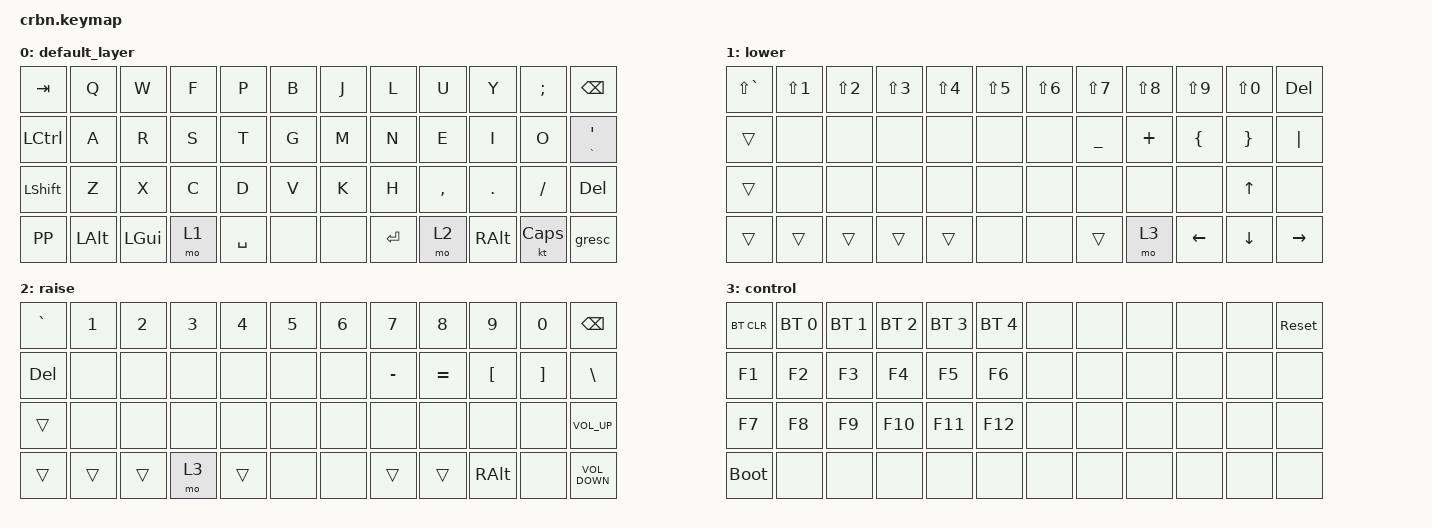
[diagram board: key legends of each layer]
/*
 * Copyright (c) 2020 The ZMK Contributors
 *
 * SPDX-License-Identifier: MIT
 */

#include <behaviors.dtsi>
#include <dt-bindings/zmk/bt.h>
#include <dt-bindings/zmk/keys.h>
#include <dt-bindings/zmk/keys.h>

/ {
    keymap {
        compatible = "zmk,keymap";

        default_layer {
            // -----------------------------------------------------------------------------------------
            // | ESC/~ |  Q   |  W   |  E   |  R   |  T   |   Y   |  U    |  I   |  O   |   P   | BSPC  |
            // | TAB   |  A   |  S   |  D   |  F   |  G   |   H   |  J    |  K   |  L   |   ;   |  '    |
            // | SHIFT |  Z   |  X   |  C   |  V   |  B   |   N   |  M    |  ,   |  .   |   /   |RET/SFT|
            // | PLAY  | LCTL | LALT | LGUI | LOWR |     SPACE    |  RAIS | LARW | UARW | DARW  |  RARW |

            bindings = <
&kp TAB           &kp Q     &kp W     &kp F  &kp P      &kp B  &kp J  &kp L      &kp U      &kp Y     &kp SEMI  &kp BSPC
&kp LEFT_CONTROL  &kp A     &kp R     &kp S  &kp T      &kp G  &kp M  &kp N      &kp E      &kp I     &kp O     &mt GRAVE SQT
&kp LSHFT         &kp Z     &kp X     &kp C  &kp D      &kp V  &kp K  &kp H      &kp COMMA  &kp DOT   &kp FSLH  &kp DEL
&kp K_PP          &kp LALT  &kp LGUI  &mo 1  &kp SPACE  &none  &none  &kp ENTER  &mo 2      &kp RALT  &kt CAPS  &gresc
            >;
        };

        lower {
            bindings = <
&kp LS(GRAVE)  &kp LS(N1)  &kp LS(N2)  &kp LS(N3)  &kp LS(N4)  &kp LS(N5)  &kp LS(N6)  &kp LS(N7)  &kp LS(N8)  &kp LS(N9)      &kp LS(N0)      &kp DEL
&trans         &none       &none       &none       &none       &none       &none       &kp UNDER   &kp PLUS    &kp LBRC        &kp RBRC        &kp PIPE
&trans         &none       &none       &none       &none       &none       &none       &none       &none       &none           &kp UP_ARROW    &none
&trans         &trans      &trans      &trans      &trans      &none       &none       &trans      &mo 3       &kp LEFT_ARROW  &kp DOWN_ARROW  &kp RIGHT_ARROW
            >;
        };

        raise {
            bindings = <
&kp GRAVE  &kp N1  &kp N2  &kp N3  &kp N4  &kp N5  &kp N6  &kp N7     &kp N8     &kp N9         &kp N0    &kp BSPC
&kp DEL    &none   &none   &none   &none   &none   &none   &kp MINUS  &kp EQUAL  &kp LBKT       &kp RBKT  &kp BSLH
&trans     &none   &none   &none   &none   &none   &none   &none      &none      &none          &none     &kp C_VOLUME_UP
&trans     &trans  &trans  &mo 3   &trans  &none   &none   &trans     &trans     &kp RIGHT_ALT  &none     &kp C_VOLUME_DOWN
            >;
        };

        control {
            bindings = <
&bt BT_CLR   &bt BT_SEL 0  &bt BT_SEL 1  &bt BT_SEL 2  &bt BT_SEL 3  &bt BT_SEL 4  &none  &none  &none  &none  &none  &sys_reset
&kp F1       &kp F2        &kp F3        &kp F4        &kp F5        &kp F6        &none  &none  &none  &none  &none  &none
&kp F7       &kp F8        &kp F9        &kp F10       &kp F11       &kp F12       &none  &none  &none  &none  &none  &none
&bootloader  &none         &none         &none         &none         &none         &none  &none  &none  &none  &none  &none
            >;
        };
    };
};
